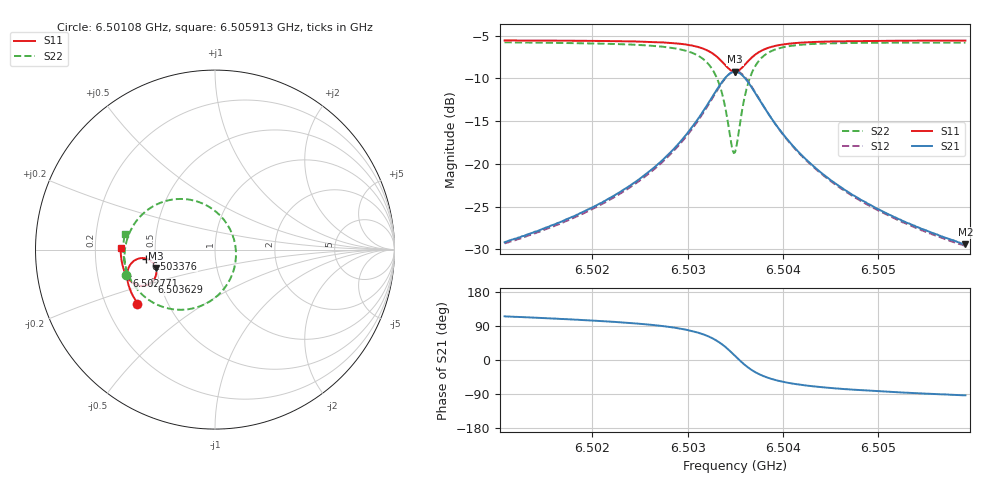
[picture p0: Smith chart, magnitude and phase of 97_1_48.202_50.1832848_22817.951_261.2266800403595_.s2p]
#  HZ  S  RI  R  50.00
! Rohde & Schwarz Vector Network Analyzer
! Rohde-Schwarz,ZNB20-2Port,1311601062101988,3.16
! Created: UTC 3/20/2024, 11:40:19 AM
! freq[Hz]  re:S11  im:S11  re:S21  im:S21  re:S12  im:S12  re:S22  im:S22
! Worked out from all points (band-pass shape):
!   401 points, 6.50108 GHz to 6.505913 GHz, reference 50 ohm
!   highest |S21| = -9.23 dB at 6.503496 GHz (marker M1); lowest = -29.4 dB at 6.505913 GHz (marker M2)
!   |S21| within 3 dB of the highest: 6.503255 GHz to 6.503738 GHz (483.2 kHz wide, 0.00743 % of centre)
!   lowest |S11| = -9.2 dB at 6.503496 GHz (marker M3), VSWR 2.06, Z = 24.7 - j5.76 ohm
!   |S11| at or under -10 dB: nowhere
!   |S22| runs from -18.7 to -5.8 dB; largest |S21 - S12| = 0.012
!   S11 on the Smith chart (normalised r, x): 6.50108 GHz: 0.34, -0.28; 6.502771 GHz: 0.33, -0.13; 6.503376 GHz: 0.44, -0.05; 6.503629 GHz: 0.45, -0.19; 6.505913 GHz: 0.31, +0.01
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6.5010797e9  -0.4322 -0.3008  -0.0148 0.0315  -0.013 0.0317  -0.4936 -0.1414
6.5018893e9  -0.4661 -0.2397  -0.0139 0.05  -0.0114 0.0495  -0.5045 -0.0527
6.5023727e9  -0.4823 -0.1954  -0.0101 0.0725  -0.00712 0.0712  -0.4986 0.0196
6.502699e9  -0.4892 -0.1577  -0.00108 0.1007  0.00258 0.0983  -0.4782 0.0894
6.5027715e9  -0.4897 -0.1478  0.003 0.1098  0.00668 0.1069  -0.4692 0.109
6.5029769e9  -0.4857 -0.1143  0.0249 0.1442  0.0285 0.1397  -0.4235 0.1771
6.503134e9  -0.4706 -0.0819  0.0651 0.1808  0.0679 0.1748  -0.345 0.2413
6.503279e9  -0.4319 -0.0523  0.1487 0.2098  0.1493 0.2034  -0.1925 0.2822
6.5033273e9  -0.4102 -0.0475  0.1921 0.2082  0.1921 0.2025  -0.1163 0.2728
6.5033757e9  -0.3844 -0.0497  0.2419 0.1924  0.2421 0.1877  -0.0308 0.237
6.5034602e9  -0.3409 -0.0798  0.3214 0.1159  0.3239 0.1114  0.096 0.0858
6.5034965e9  -0.3299 -0.1024  0.3391 0.0657  0.3428 0.0603  0.1165 -0.00825
6.5035207e9  -0.3269 -0.1191  0.3424 0.0306  0.3465 0.0235  0.1135 -0.0733
6.5035569e9  -0.3292 -0.1437  0.3346 -0.0206  0.3381 -0.0297  0.0847 -0.1639
6.5036294e9  -0.352 -0.1814  0.2865 -0.0982  0.2863 -0.1098  -0.0287 -0.2886
6.5037382e9  -0.3985 -0.2018  0.1977 -0.1436  0.1921 -0.1537  -0.2089 -0.3348
6.5038953e9  -0.4463 -0.1923  0.1124 -0.1392  0.1049 -0.1446  -0.3625 -0.2846
6.5040644e9  -0.4745 -0.1708  0.0661 -0.1176  0.0595 -0.12  -0.4369 -0.2168
6.5043061e9  -0.4955 -0.1412  0.035 -0.0919  0.03 -0.0925  -0.4814 -0.1424
6.5046445e9  -0.5105 -0.1048  0.0162 -0.0687  0.0127 -0.0685  -0.5036 -0.0703
6.5051157e9  -0.5208 -0.0603  0.00539 -0.0501  0.00289 -0.0495  -0.5108 -0.000159
6.5059133e9  -0.526 0.00782  -0.00189 -0.0337  -0.00336 -0.0328  -0.5035 0.0866
